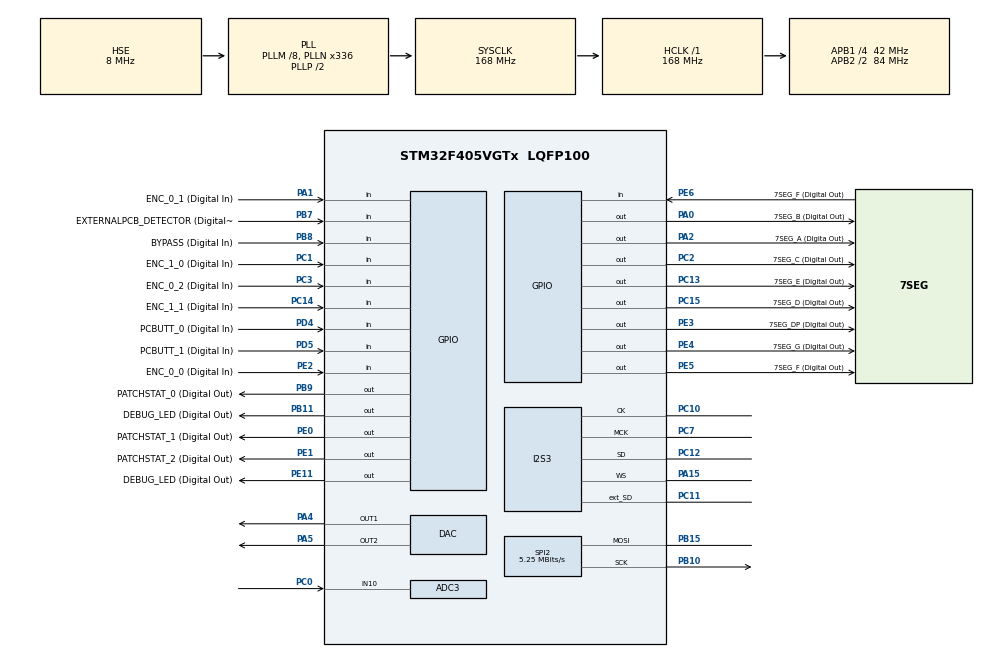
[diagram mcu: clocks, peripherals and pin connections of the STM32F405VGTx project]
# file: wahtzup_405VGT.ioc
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ADC3.Channel-0\#ChannelRegularConversion=ADC_CHANNEL_10
ADC3.NbrOfConversionFlag=1
ADC3.Rank-0\#ChannelRegularConversion=1
ADC3.SamplingTime-0\#ChannelRegularConversion=ADC_SAMPLETIME_3CYCLES
DAC.DAC_OutputBuffer=DAC_OUTPUTBUFFER_DISABLE
DAC.DAC_OutputBuffer2=DAC_OUTPUTBUFFER_DISABLE
Dma.ADC3.2.Channel=DMA_CHANNEL_2
Dma.ADC3.2.Direction=DMA_PERIPH_TO_MEMORY
Dma.ADC3.2.FIFOMode=DMA_FIFOMODE_DISABLE
Dma.ADC3.2.FIFOThreshold=DMA_FIFO_THRESHOLD_FULL
Dma.ADC3.2.Instance=DMA2_Stream0
Dma.ADC3.2.MemBurst=DMA_MBURST_SINGLE
Dma.ADC3.2.MemDataAlignment=DMA_MDATAALIGN_BYTE
Dma.ADC3.2.MemInc=DMA_MINC_ENABLE
Dma.ADC3.2.Mode=DMA_NORMAL
Dma.ADC3.2.PeriphBurst=DMA_PBURST_SINGLE
Dma.ADC3.2.PeriphDataAlignment=DMA_PDATAALIGN_BYTE
Dma.ADC3.2.PeriphInc=DMA_PINC_DISABLE
Dma.ADC3.2.Priority=DMA_PRIORITY_LOW
Dma.I2S3_EXT_RX.0.Channel=DMA_CHANNEL_3
Dma.I2S3_EXT_RX.0.Direction=DMA_PERIPH_TO_MEMORY
Dma.I2S3_EXT_RX.0.FIFOMode=DMA_FIFOMODE_DISABLE
Dma.I2S3_EXT_RX.0.FIFOThreshold=DMA_FIFO_THRESHOLD_FULL
Dma.I2S3_EXT_RX.0.Instance=DMA1_Stream0
Dma.I2S3_EXT_RX.0.MemBurst=DMA_MBURST_SINGLE
Dma.I2S3_EXT_RX.0.MemDataAlignment=DMA_MDATAALIGN_BYTE
Dma.I2S3_EXT_RX.0.MemInc=DMA_MINC_ENABLE
Dma.I2S3_EXT_RX.0.Mode=DMA_CIRCULAR
Dma.I2S3_EXT_RX.0.PeriphBurst=DMA_PBURST_SINGLE
Dma.I2S3_EXT_RX.0.PeriphDataAlignment=DMA_PDATAALIGN_BYTE
Dma.I2S3_EXT_RX.0.PeriphInc=DMA_PINC_DISABLE
Dma.I2S3_EXT_RX.0.Priority=DMA_PRIORITY_LOW
Dma.Request0=I2S3_EXT_RX
Dma.Request1=SPI3_TX
Dma.Request2=ADC3
Dma.SPI3_TX.1.Channel=DMA_CHANNEL_0
Dma.SPI3_TX.1.Direction=DMA_MEMORY_TO_PERIPH
Dma.SPI3_TX.1.FIFOMode=DMA_FIFOMODE_DISABLE
Dma.SPI3_TX.1.FIFOThreshold=DMA_FIFO_THRESHOLD_FULL
Dma.SPI3_TX.1.Instance=DMA1_Stream5
Dma.SPI3_TX.1.MemBurst=DMA_MBURST_SINGLE
Dma.SPI3_TX.1.MemDataAlignment=DMA_MDATAALIGN_BYTE
Dma.SPI3_TX.1.MemInc=DMA_MINC_ENABLE
Dma.SPI3_TX.1.Mode=DMA_CIRCULAR
Dma.SPI3_TX.1.PeriphBurst=DMA_PBURST_SINGLE
Dma.SPI3_TX.1.PeriphDataAlignment=DMA_PDATAALIGN_BYTE
Dma.SPI3_TX.1.PeriphInc=DMA_PINC_DISABLE
Dma.SPI3_TX.1.Priority=DMA_PRIORITY_LOW
I2S3.AudioFreq=I2S_AUDIOFREQ_32K
I2S3.DataFormat=I2S_DATAFORMAT_24B
I2S3.ErrorAudioFreq=-2.34 %
I2S3.FullDuplexMode=I2S_FULLDUPLEXMODE_ENABLE
I2S3.RealAudioFreq=31.25 KHz
Mcu.Family=STM32F4
Mcu.Name=STM32F405VGTx
Mcu.Package=LQFP100
NVIC.DMA1_Stream0_IRQn=true\:0\:0\:false
NVIC.DMA1_Stream5_IRQn=true\:0\:0\:false
NVIC.DMA2_Stream0_IRQn=true\:0\:0\:false
NVIC.PriorityGroup=NVIC_PRIORITYGROUP_4
PA0-WKUP.GPIO_Label=7SEG_B (Digital Out)
PA0-WKUP.GPIO_ModeDefaultOutputPP=GPIO_MODE_OUTPUT_PP
PA0-WKUP.GPIO_PuPd=GPIO_NOPULL
PA0-WKUP.GPIO_Speed=GPIO_SPEED_LOW
PA0-WKUP.Signal=GPIO_Output
PA1.GPIO_Label=ENC_0_1 (Digital In)
PA1.GPIO_Mode=GPIO_MODE_INPUT
PA1.GPIO_PuPd=GPIO_PULLUP
PA1.Signal=GPIO_Input
PA11.Signal=USB_OTG_FS_DM
PA12.Signal=USB_OTG_FS_DP
PA13.Mode=Serial-Wire
PA13.Signal=SYS_JTMS-SWDIO
PA14.Mode=Serial-Wire
PA14.Signal=SYS_JTCK-SWCLK
PA15.Mode=Full_Duplex_Master
PA15.Signal=I2S3_WS
PA2.GPIO_Label=7SEG_A (Digita Out)
PA2.GPIO_ModeDefaultOutputPP=GPIO_MODE_OUTPUT_PP
PA2.GPIO_PuPd=GPIO_NOPULL
PA2.GPIO_Speed=GPIO_SPEED_LOW
PA2.Signal=GPIO_Output
PA4.Signal=COMP_DAC1_group
PA5.Signal=COMP_DAC2_group
PB10.Mode=Simplex_Bidirectional_Master
PB10.Signal=SPI2_SCK
PB11.GPIO_Label=DEBUG_LED (Digital Out)
PB11.GPIO_ModeDefaultOutputPP=GPIO_MODE_OUTPUT_PP
PB11.GPIO_PuPd=GPIO_NOPULL
PB11.GPIO_Speed=GPIO_SPEED_LOW
PB11.Signal=GPIO_Output
PB15.Mode=Simplex_Bidirectional_Master
PB15.Signal=SPI2_MOSI
PB7.GPIO_Label=EXTERNALPCB_DETECTOR (Digital In)
PB7.GPIO_Mode=GPIO_MODE_INPUT
PB7.GPIO_PuPd=GPIO_PULLUP
PB7.Signal=GPIO_Input
PB8.GPIO_Label=BYPASS (Digital In)
PB8.GPIO_Mode=GPIO_MODE_INPUT
PB8.GPIO_PuPd=GPIO_PULLUP
PB8.Signal=GPIO_Input
PB9.GPIO_Label=PATCHSTAT_0 (Digital Out)
PB9.GPIO_ModeDefaultOutputPP=GPIO_MODE_OUTPUT_PP
PB9.GPIO_PuPd=GPIO_NOPULL
PB9.GPIO_Speed=GPIO_SPEED_LOW
PB9.Signal=GPIO_Output
PC0.Signal=ADCx_IN10
PC1.GPIO_Label=ENC_1_0 (Digital In)
PC1.GPIO_Mode=GPIO_MODE_INPUT
PC1.GPIO_PuPd=GPIO_PULLUP
PC1.Signal=GPIO_Input
PC10.Mode=Full_Duplex_Master
PC10.Signal=I2S3_CK
PC11.Mode=Full_Duplex_Master
PC11.Signal=I2S3_ext_SD
PC12.Mode=Full_Duplex_Master
PC12.Signal=I2S3_SD
PC13-ANTI_TAMP.GPIO_Label=7SEG_E (Digital Out)
PC13-ANTI_TAMP.GPIO_ModeDefaultOutputPP=GPIO_MODE_OUTPUT_PP
PC13-ANTI_TAMP.GPIO_PuPd=GPIO_NOPULL
PC13-ANTI_TAMP.GPIO_Speed=GPIO_SPEED_LOW
PC13-ANTI_TAMP.Signal=GPIO_Output
PC14-OSC32_IN.GPIO_Label=ENC_1_1 (Digital In)
PC14-OSC32_IN.GPIO_Mode=GPIO_MODE_INPUT
PC14-OSC32_IN.GPIO_PuPd=GPIO_PULLUP
PC14-OSC32_IN.Signal=GPIO_Input
PC15-OSC32_OUT.GPIO_Label=7SEG_D (Digital Out)
PC15-OSC32_OUT.GPIO_ModeDefaultOutputPP=GPIO_MODE_OUTPUT_PP
PC15-OSC32_OUT.GPIO_PuPd=GPIO_NOPULL
PC15-OSC32_OUT.GPIO_Speed=GPIO_SPEED_LOW
PC15-OSC32_OUT.Signal=GPIO_Output
PC2.GPIO_Label=7SEG_C (Digital Out)
PC2.GPIO_ModeDefaultOutputPP=GPIO_MODE_OUTPUT_PP
PC2.GPIO_PuPd=GPIO_NOPULL
PC2.GPIO_Speed=GPIO_SPEED_LOW
PC2.Signal=GPIO_Output
PC3.GPIO_Label=ENC_0_2 (Digital In)
PC3.GPIO_Mode=GPIO_MODE_INPUT
PC3.GPIO_PuPd=GPIO_PULLUP
PC3.Signal=GPIO_Input
PC7.Mode=Master_Clock_Activated
PC7.Signal=I2S3_MCK
PD4.GPIO_Label=PCBUTT_0 (Digital In)
PD4.GPIO_Mode=GPIO_MODE_INPUT
PD4.GPIO_PuPd=GPIO_PULLUP
PD4.Signal=GPIO_Input
PD5.GPIO_Label=PCBUTT_1 (Digital In)
PD5.GPIO_Mode=GPIO_MODE_INPUT
PD5.GPIO_PuPd=GPIO_PULLUP
PD5.Signal=GPIO_Input
PE0.GPIO_Label=PATCHSTAT_1 (Digital Out)
PE0.GPIO_ModeDefaultOutputPP=GPIO_MODE_OUTPUT_PP
PE0.GPIO_PuPd=GPIO_NOPULL
PE0.GPIO_Speed=GPIO_SPEED_LOW
PE0.Signal=GPIO_Output
PE1.GPIO_Label=PATCHSTAT_2 (Digital Out)
PE1.GPIO_ModeDefaultOutputPP=GPIO_MODE_OUTPUT_PP
PE1.GPIO_PuPd=GPIO_NOPULL
PE1.GPIO_Speed=GPIO_SPEED_LOW
PE1.Signal=GPIO_Output
PE11.GPIO_Label=DEBUG_LED (Digital Out)
PE11.GPIO_ModeDefaultOutputPP=GPIO_MODE_OUTPUT_PP
PE11.GPIO_PuPd=GPIO_NOPULL
PE11.GPIO_Speed=GPIO_SPEED_LOW
PE11.Signal=GPIO_Output
PE2.GPIO_Label=ENC_0_0 (Digital In)
PE2.GPIO_Mode=GPIO_MODE_INPUT
PE2.GPIO_PuPd=GPIO_PULLUP
PE2.Signal=GPIO_Input
PE3.GPIO_Label=7SEG_DP (Digital Out)
PE3.GPIO_ModeDefaultOutputPP=GPIO_MODE_OUTPUT_PP
PE3.GPIO_PuPd=GPIO_NOPULL
PE3.GPIO_Speed=GPIO_SPEED_LOW
PE3.Signal=GPIO_Output
PE4.GPIO_Label=7SEG_G (Digital Out)
PE4.GPIO_ModeDefaultOutputPP=GPIO_MODE_OUTPUT_PP
PE4.GPIO_PuPd=GPIO_NOPULL
PE4.GPIO_Speed=GPIO_SPEED_LOW
PE4.Signal=GPIO_Output
PE5.GPIO_Label=7SEG_F (Digital Out)
PE5.GPIO_ModeDefaultOutputPP=GPIO_MODE_OUTPUT_PP
PE5.GPIO_PuPd=GPIO_NOPULL
PE5.GPIO_Speed=GPIO_SPEED_LOW
PE5.Signal=GPIO_Output
PE6.GPIO_Label=7SEG_F (Digital Out)
PE6.GPIO_Mode=GPIO_MODE_INPUT
PE6.GPIO_PuPd=GPIO_PULLUP
PE6.Signal=GPIO_Input
PH0-OSC_IN.Mode=HSE-External-Oscillator
PH0-OSC_IN.Signal=RCC_OSC_IN
PH1-OSC_OUT.Mode=HSE-External-Oscillator
PH1-OSC_OUT.Signal=RCC_OSC_OUT
ProjectManager.TargetToolchain=TrueSTUDIO
RCC.48MHZClocksFreq_Value=84000000
RCC.AHBFreq_Value=168000000
RCC.APB1CLKDivider=RCC_HCLK_DIV4
RCC.APB1Freq_Value=42000000
RCC.APB1TimFreq_Value=84000000
RCC.APB2CLKDivider=RCC_HCLK_DIV2
RCC.APB2Freq_Value=84000000
RCC.APB2TimFreq_Value=168000000
RCC.CortexFreq_Value=168000000
RCC.HCLKFreq_Value=168000000
RCC.HSE_VALUE=8000000
RCC.HSI_VALUE=16000000
RCC.LSE_VALUE=32768
RCC.PLLM=8
RCC.PLLN=336
RCC.PLLSourceVirtual=RCC_PLLSOURCE_HSE
RCC.SYSCLKFreq_VALUE=168000000
RCC.SYSCLKSource=RCC_SYSCLKSOURCE_PLLCLK
RCC.VCOOutputFreq_Value=336000000
SH.ADCx_IN10.0=ADC3_IN10,IN10
SH.COMP_DAC1_group.0=DAC_OUT1,DAC_OUT1
SH.COMP_DAC2_group.0=DAC_OUT2,DAC_OUT2
SPI2.BaudRatePrescaler=SPI_BAUDRATEPRESCALER_8
SPI2.CalculateBaudRate=5.25 MBits/s
SPI2.Direction=SPI_DIRECTION_1LINE
SPI2.Mode=SPI_MODE_MASTER
board=wahtzup_405VGT

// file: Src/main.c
/**
  ******************************************************************************
  * File Name          : main.c
  * Description        : Main program body
  ******************************************************************************
  *
  * COPYRIGHT(c) 2016 STMicroelectronics
  *
  * Redistribution and use in source and binary forms, with or without modification,
  * are permitted provided that the following conditions are met:
  *   1. Redistributions of source code must retain the above copyright notice,
  *      this list of conditions and the following disclaimer.
  *   2. Redistributions in binary form must reproduce the above copyright notice,
  *      this list of conditions and the following disclaimer in the documentation
  *      and/or other materials provided with the distribution.
  *   3. Neither the name of STMicroelectronics nor the names of its contributors
  *      may be used to endorse or promote products derived from this software
  *      without specific prior written permission.
  *
  * THIS SOFTWARE IS PROVIDED BY THE COPYRIGHT HOLDERS AND CONTRIBUTORS "AS IS"
  * AND ANY EXPRESS OR IMPLIED WARRANTIES, INCLUDING, BUT NOT LIMITED TO, THE
  * IMPLIED WARRANTIES OF MERCHANTABILITY AND FITNESS FOR A PARTICULAR PURPOSE ARE
  * DISCLAIMED. IN NO EVENT SHALL THE COPYRIGHT HOLDER OR CONTRIBUTORS BE LIABLE
  * FOR ANY DIRECT, INDIRECT, INCIDENTAL, SPECIAL, EXEMPLARY, OR CONSEQUENTIAL
  * DAMAGES (INCLUDING, BUT NOT LIMITED TO, PROCUREMENT OF SUBSTITUTE GOODS OR
  * SERVICES; LOSS OF USE, DATA, OR PROFITS; OR BUSINESS INTERRUPTION) HOWEVER
  * CAUSED AND ON ANY THEORY OF LIABILITY, WHETHER IN CONTRACT, STRICT LIABILITY,
  * OR TORT (INCLUDING NEGLIGENCE OR OTHERWISE) ARISING IN ANY WAY OUT OF THE USE
  * OF THIS SOFTWARE, EVEN IF ADVISED OF THE POSSIBILITY OF SUCH DAMAGE.
  *
  ******************************************************************************
  */
#include "stm32f4xx_hal.h"
#include "adc.h"
#include "dac.h"
#include "dma.h"
#include "i2s.h"
#include "spi.h"
#include "gpio.h"

/* USER CODE BEGIN Includes */
#include "system_defs.h"
#include "wm8731.h"
#include "hardFaultHandler.h"
#include "tremolo_one.h"
/* USER CODE END Includes */

//how many samples per data frame per?
// #define AUDIO_BLOCK_SIZE 256
// #define ADC_POT_BUFFER_SIZE 8
// #define SAMPLING_RATE 32000
/*we need a few buffers */
int16_t codec_rx_buffer_a[AUDIO_BLOCK_SIZE*2];
int16_t codec_tx_buffer_a[AUDIO_BLOCK_SIZE*2];

//this is the buffer the ADC DMA will write values into
//once it is full you can average them in the interrupt and use that as the pot value
uint16_t wah_pot_buffer[ADC_POT_BUFFER_SIZE];

/*variables for audio dma buffer*/
int32_t block_tick = 0;
int32_t block_half= 0;

/* USER CODE BEGIN PV */
/* Private variables ---------------------------------------------------------*/

/* USER CODE END PV */
//the patch pointer

int32_t (* patch)( float *, float *, int32_t);

void SystemClock_Config(void);

/* USER CODE BEGIN PFP */
/* Private function prototypes -----------------------------------------------*/

/* USER CODE END PFP */

int main(void)
{

  /* USER CODE BEGIN 1 */
  //clear the DMA buffers
  uint32_t j = 0;
  for(j = 0; j < AUDIO_BLOCK_SIZE*2; j++){
    codec_tx_buffer_a[j] = 0;
    codec_rx_buffer_a[j] = 0;
  }

  /* USER CODE END 1 */

  /* MCU Configuration----------------------------------------------------------*/

  /* Reset of all peripherals, Initializes the Flash interface and the Systick. */
  HAL_Init();

  /* Configure the system clock */
  SystemClock_Config();

  /* Initialize all configured peripherals */
  MX_GPIO_Init();
  MX_DMA_Init();  //
  MX_ADC3_Init(); //wah pot input
  MX_DAC_Init();  //cv outs
  MX_I2S3_Init(); //i2s codec
  MX_SPI2_Init(); //spi codec

  /* USER CODE BEGIN 2 */
  codec_init( & hspi2 );
  HAL_SuspendTick();
  HAL_I2SEx_TransmitReceive_DMA(&hi2s3, (uint16_t *)codec_tx_buffer_a, (uint16_t *)codec_rx_buffer_a, AUDIO_BLOCK_SIZE * 2);

  float input_block[AUDIO_BLOCK_SIZE];
  float output_block[AUDIO_BLOCK_SIZE];
  uint32_t start_a, end_a = 0;
  uint32_t frame_number = 0;

  float amplitude = 0;
  float amplitude_delta = .1;
  float amplitude_max = 1;
  uint32_t lfo_t = 0;
  uint32_t lfo_T = 100;

  /* USER CODE END 2 */

  patch = tremolo_one;
  /* Infinite loop */
  /* USER CODE BEGIN WHILE */
  while (1)
  {
    while(block_tick){};
    block_tick = 1;
    if(block_half){//use second half
      start_a = AUDIO_BLOCK_SIZE;
      end_a = AUDIO_BLOCK_SIZE * 2;
      for(j= start_a; j < end_a; j++){
        input_block[j - AUDIO_BLOCK_SIZE] = (float)codec_rx_buffer_a[j] / 32768.0;
        codec_tx_buffer_a[j] = (int16_t)(output_block[j - AUDIO_BLOCK_SIZE] * 32768.0);
      }
    }else{//use first half
      start_a = 0;
      end_a = AUDIO_BLOCK_SIZE;
      for(j= start_a; j < end_a; j++){
        input_block[j] = (float)codec_rx_buffer_a[j] / 32768.0;
        codec_tx_buffer_a[j] = (int16_t)(output_block[j] * 32768.0);
      }
    }

  /* USER CODE END WHILE */

  /* USER CODE BEGIN 3 */
    //simple loop through
    // for( j = 0; j < AUDIO_BLOCK_SIZE; j++){
    //   output_block[j] = input_block[j];
    // }

    patch(input_block,output_block, AUDIO_BLOCK_SIZE);

    frame_number++;

  }
  /* USER CODE END 3 */

}

/** System Clock Configuration
*/
void SystemClock_Config(void)
{

  RCC_OscInitTypeDef RCC_OscInitStruct;
  RCC_ClkInitTypeDef RCC_ClkInitStruct;
  RCC_PeriphCLKInitTypeDef PeriphClkInitStruct;

  __PWR_CLK_ENABLE();

  __HAL_PWR_VOLTAGESCALING_CONFIG(PWR_REGULATOR_VOLTAGE_SCALE1);

  RCC_OscInitStruct.OscillatorType = RCC_OSCILLATORTYPE_HSE;
  RCC_OscInitStruct.HSEState = RCC_HSE_ON;
  RCC_OscInitStruct.PLL.PLLState = RCC_PLL_ON;
  RCC_OscInitStruct.PLL.PLLSource = RCC_PLLSOURCE_HSE;
  RCC_OscInitStruct.PLL.PLLM = 8;
  RCC_OscInitStruct.PLL.PLLN = 336;
  RCC_OscInitStruct.PLL.PLLP = RCC_PLLP_DIV2;
  RCC_OscInitStruct.PLL.PLLQ = 4;
  HAL_RCC_OscConfig(&RCC_OscInitStruct);

  RCC_ClkInitStruct.ClockType = RCC_CLOCKTYPE_SYSCLK|RCC_CLOCKTYPE_PCLK1
                              |RCC_CLOCKTYPE_PCLK2;
  RCC_ClkInitStruct.SYSCLKSource = RCC_SYSCLKSOURCE_PLLCLK;
  RCC_ClkInitStruct.AHBCLKDivider = RCC_SYSCLK_DIV1;
  RCC_ClkInitStruct.APB1CLKDivider = RCC_HCLK_DIV4;
  RCC_ClkInitStruct.APB2CLKDivider = RCC_HCLK_DIV2;
  HAL_RCC_ClockConfig(&RCC_ClkInitStruct, FLASH_LATENCY_5);

  PeriphClkInitStruct.PeriphClockSelection = RCC_PERIPHCLK_I2S;
  PeriphClkInitStruct.PLLI2S.PLLI2SN = 192;
  PeriphClkInitStruct.PLLI2S.PLLI2SR = 2;
  HAL_RCCEx_PeriphCLKConfig(&PeriphClkInitStruct);

  HAL_SYSTICK_Config(HAL_RCC_GetHCLKFreq()/1000);

  HAL_SYSTICK_CLKSourceConfig(SYSTICK_CLKSOURCE_HCLK);

  /* SysTick_IRQn interrupt configuration */
  HAL_NVIC_SetPriority(SysTick_IRQn, 0, 0);
}

/* USER CODE BEGIN 4 */
uint32_t nt = 0;
void HAL_I2S_TxCpltCallback ( I2S_HandleTypeDef * hi2s){
 nt++;

}
uint32_t nr = 0;
void HAL_I2S_RxCpltCallback ( I2S_HandleTypeDef * hi2s){
 nr++;
  block_tick = 0;
  block_half = 1;
}

uint32_t nth = 0;
void HAL_I2S_TxHalfCpltCallback ( I2S_HandleTypeDef * hi2s){
  nth++;

}

uint32_t nrh = 0;
void HAL_I2S_RxHalfCpltCallback ( I2S_HandleTypeDef * hi2s){
  nrh++;
  block_tick = 0;
  block_half = 0;
}
/* USER CODE END 4 */

/************************ (C) COPYRIGHT STMicroelectronics *****END OF FILE****/
